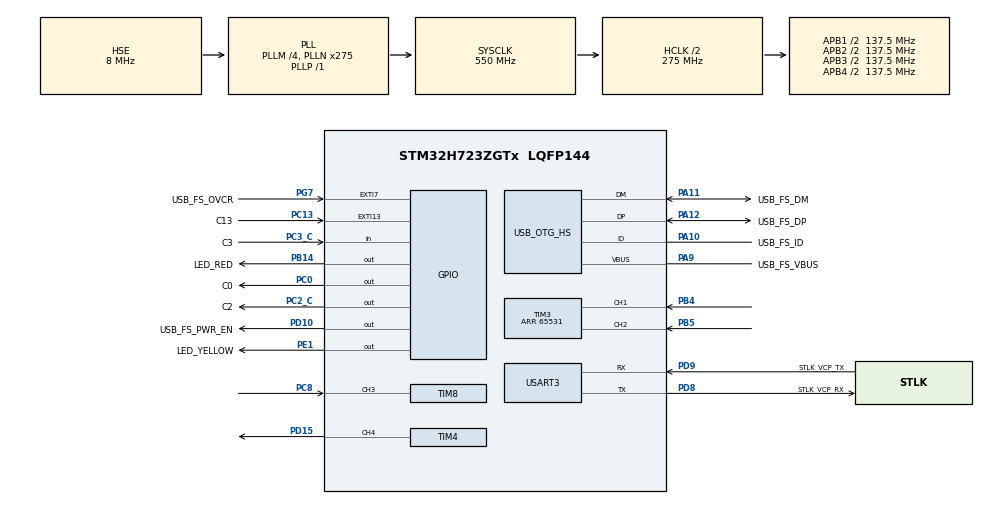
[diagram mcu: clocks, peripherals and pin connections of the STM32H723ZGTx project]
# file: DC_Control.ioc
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Mcu.Family=STM32H7
Mcu.Name=STM32H723ZGTx
Mcu.Package=LQFP144
NVIC.EXTI15_10_IRQn=true\:0\:0\:false\:false\:true\:true\:true
NVIC.PriorityGroup=NVIC_PRIORITYGROUP_4
NVIC.TIM23_IRQn=true\:0\:0\:false\:false\:true\:true\:true
NVIC.TIM24_IRQn=true\:0\:0\:false\:false\:true\:true\:true
NVIC.TIM2_IRQn=true\:0\:0\:false\:false\:true\:true\:true
PA10.GPIO_Label=USB_FS_ID
PA10.Mode=OTG/Dual-Role-Device-FS
PA10.Signal=USB_OTG_HS_ID
PA11.GPIO_Label=USB_FS_DM
PA11.Mode=OTG/Dual-Role-Device-FS
PA11.Signal=USB_OTG_HS_DM
PA12.GPIO_Label=USB_FS_DP
PA12.Mode=OTG/Dual-Role-Device-FS
PA12.Signal=USB_OTG_HS_DP
PA13(JTMS/SWDIO).GPIO_Label=SWDIO
PA13(JTMS/SWDIO).Mode=Trace_Asynchronous_SW
PA13(JTMS/SWDIO).Signal=DEBUG_JTMS-SWDIO
PA14(JTCK/SWCLK).GPIO_Label=SWCLK
PA14(JTCK/SWCLK).Mode=Trace_Asynchronous_SW
PA14(JTCK/SWCLK).Signal=DEBUG_JTCK-SWCLK
PA2.GPIO_Label=RMII_MDIO
PA2.Signal=ETH_MDIO
PA7.GPIO_Label=RMII_CRS_DV
PA7.Signal=ETH_CRS_DV
PA9.GPIO_Label=USB_FS_VBUS
PA9.Mode=Activate_VBUS_FS
PA9.Signal=USB_OTG_HS_VBUS
PB13.GPIO_Label=RMII_TXD1
PB13.Signal=ETH_TXD1
PB14.GPIO_Label=LED_RED
PB14.Signal=GPIO_Output
PB3(JTDO/TRACESWO).GPIO_Label=SWO
PB3(JTDO/TRACESWO).Mode=Trace_Asynchronous_SW
PB3(JTDO/TRACESWO).Signal=DEBUG_JTDO-SWO
PB4(NJTRST).Signal=S_TIM3_CH1
PB5.Signal=S_TIM3_CH2
PC0.GPIO_Label=C0
PC0.Signal=GPIO_Output
PC1.GPIO_Label=RMII_MDC
PC1.Signal=ETH_MDC
PC13.GPIO_Label=C13
PC13.Signal=GPXTI13
PC14-OSC32_IN.Mode=LSE-External-Oscillator
PC14-OSC32_IN.Signal=RCC_OSC32_IN
PC15-OSC32_OUT.Mode=LSE-External-Oscillator
PC15-OSC32_OUT.Signal=RCC_OSC32_OUT
PC2_C.GPIO_Label=C2
PC2_C.Signal=GPIO_Output
PC3_C.GPIO_Label=C3
PC3_C.Signal=GPIO_Input
PC4.GPIO_Label=RMII_RXD0
PC4.Signal=ETH_RXD0
PC5.GPIO_Label=RMII_RXD1
PC5.Signal=ETH_RXD1
PC8.Signal=S_TIM8_CH3
PD10.GPIO_Label=USB_FS_PWR_EN
PD10.Signal=GPIO_Output
PD15.Signal=S_TIM4_CH4
PD8.GPIO_Label=STLK_VCP_RX
PD8.Mode=Asynchronous
PD8.Signal=USART3_TX
PD9.GPIO_Label=STLK_VCP_TX
PD9.Mode=Asynchronous
PD9.Signal=USART3_RX
PE1.GPIO_Label=LED_YELLOW
PE1.Signal=GPIO_Output
PG11.GPIO_Label=RMII_TX_EN
PG11.Signal=ETH_TX_EN
PG13.GPIO_Label=RMII_TXD0
PG13.Signal=ETH_TXD0
PG7.GPIO_Label=USB_FS_OVCR
PG7.Signal=GPXTI7
PH0-OSC_IN.GPIO_Label=MCO
PH0-OSC_IN.Mode=HSE-External-Clock-Source
PH0-OSC_IN.Signal=RCC_OSC_IN
PH1-OSC_OUT.Signal=RCC_OSC_OUT
ProjectManager.HeapSize=0x200
ProjectManager.StackSize=0x400
ProjectManager.TargetToolchain=STM32CubeIDE
RCC.ADCFreq_Value=76000000
RCC.APB1Freq_Value=137500000
RCC.APB2Freq_Value=137500000
RCC.APB3Freq_Value=137500000
RCC.APB4Freq_Value=137500000
RCC.CortexFreq_Value=550000000
RCC.D1PPRE=RCC_APB3_DIV2
RCC.D2PPRE1=RCC_APB1_DIV2
RCC.D2PPRE2=RCC_APB2_DIV2
RCC.D3PPRE=RCC_APB4_DIV2
RCC.DIVM1=4
RCC.DIVM2=1
RCC.DIVN1=275
RCC.DIVN2=19
RCC.DIVP1=1
RCC.DIVQ1=4
RCC.HCLKFreq_Value=275000000
RCC.HPRE=RCC_HCLK_DIV2
RCC.HSE_VALUE=8000000
RCC.PLLFRACN=0
RCC.PLLSourceVirtual=RCC_PLLSOURCE_HSE
RCC.SYSCLKFreq_VALUE=550000000
RCC.SYSCLKSource=RCC_SYSCLKSOURCE_PLLCLK
RCC.USBCLockSelection=RCC_USBCLKSOURCE_HSI48
RCC.USBFreq_Value=48000000
SH.S_TIM3_CH1.0=TIM3_CH1,Encoder_Interface
SH.S_TIM3_CH2.0=TIM3_CH2,Encoder_Interface
SH.S_TIM4_CH4.0=TIM4_CH4,PWM Generation4 CH4
SH.S_TIM8_CH3.0=TIM8_CH3,Input_Capture3_from_TI3
TIM2.Period=9999
TIM2.Prescaler=549
TIM23.Period=9999
TIM23.Prescaler=549
TIM24.Period=14
TIM24.Prescaler=65530
TIM3.EncoderMode=TIM_ENCODERMODE_TI12
TIM3.IC1Filter=10
TIM3.IC2Filter=10
TIM3.Period=65531
TIM4.Channel-PWM\ Generation4\ CH4=TIM_CHANNEL_4
TIM4.Period=65535
TIM4.Prescaler=99
TIM4.Pulse-PWM\ Generation4\ CH4=4999
TIM5.Period=99999
TIM5.Prescaler=5499
TIM8.Channel-Input_Capture3_from_TI3=TIM_CHANNEL_3
TIM8.ICFilter_CH3=10
TIM8.Prescaler=9999
TIM8.RepetitionCounter=10
USART3.VirtualMode-Asynchronous=VM_ASYNC
VP_TIM23_VS_ClockSourceINT.Mode=Internal
VP_TIM24_VS_ClockSourceINT.Mode=Internal
VP_TIM2_VS_ClockSourceINT.Mode=Internal
VP_TIM4_VS_ClockSourceINT.Mode=Internal
VP_TIM5_VS_ClockSourceINT.Mode=Internal
VP_TIM8_VS_ClockSourceINT.Mode=Internal
board=NUCLEO-H723ZG

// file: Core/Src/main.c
/* USER CODE BEGIN Header */
/**
  ******************************************************************************
  * @file           : main.c
  * @brief          : Main program body
  ******************************************************************************
  * @attention
  *
  * <h2><center>&copy; Copyright (c) 2022 STMicroelectronics.
  * All rights reserved.</center></h2>
  *
  * This software component is licensed by ST under BSD 3-Clause license,
  * the "License"; You may not use this file except in compliance with the
  * License. You may obtain a copy of the License at:
  *                        opensource.org/licenses/BSD-3-Clause
  *
  ******************************************************************************
  */
/* USER CODE END Header */
#include "main.h"

/* USER CODE BEGIN Includes */
#include "stdint.h"
#include "stdio.h"
#include <math.h>
#include <stdbool.h>
/* USER CODE END Includes */

TIM_HandleTypeDef htim2;
TIM_HandleTypeDef htim3;
TIM_HandleTypeDef htim4;
TIM_HandleTypeDef htim5;
TIM_HandleTypeDef htim8;
TIM_HandleTypeDef htim23;
TIM_HandleTypeDef htim24;

UART_HandleTypeDef huart3;

void SystemClock_Config(void);
static void MX_GPIO_Init(void);
static void MX_USART3_UART_Init(void);
static void MX_USB_OTG_HS_USB_Init(void);
static void MX_TIM4_Init(void);
static void MX_TIM3_Init(void);
static void MX_TIM8_Init(void);
static void MX_TIM2_Init(void);
static void MX_TIM5_Init(void);
static void MX_TIM23_Init(void);
static void MX_TIM24_Init(void);
/* USER CODE BEGIN PFP */
void HAL_TIM_PeriodElapsedCallback(TIM_HandleTypeDef* htim);
//void HAL_GPIO_EXTI_Callback (uint16_t GPIO_Pin);
/* USER CODE END PFP */

/* USER CODE BEGIN 0 */

int Pulse_d = 0;
int Pulse_Inv =0;
float speed =0;
int diff =1;
int Pulses = 0;
bool ref ;
bool DIR ;
int d = 0;
 int i =0;
 int ARR_Val = 65531;
  int reset_d = 0;
  int reset_inv = 0;

  int flag = 1; // CNT start from 0
  int offset_d = 0;
  int offset_inv = 0;
  int sum_inv= 0 ;
  int sum_d = 0;
/* USER CODE END 0 */

int main(void)
{

  /* MCU Configuration--------------------------------------------------------*/

  /* Reset of all peripherals, Initializes the Flash interface and the Systick. */
  HAL_Init();

  /* Configure the system clock */
  SystemClock_Config();

  /* Initialize all configured peripherals */
  MX_GPIO_Init();
  MX_USART3_UART_Init();
  MX_USB_OTG_HS_USB_Init();
  MX_TIM4_Init();
  MX_TIM3_Init();
  MX_TIM8_Init();
  MX_TIM2_Init();
  MX_TIM5_Init();
  MX_TIM23_Init();
  MX_TIM24_Init();
  /* USER CODE BEGIN 2 */
  HAL_GPIO_WritePin(GPIOC,GPIO_PIN_0,GPIO_PIN_RESET);
  HAL_GPIO_WritePin(GPIOC,GPIO_PIN_2,GPIO_PIN_SET);
  HAL_TIM_PWM_Start(&htim4,TIM_CHANNEL_4);
  HAL_TIM_Encoder_Start(&htim3,TIM_CHANNEL_ALL);
  HAL_TIM_IC_Start (&htim8,TIM_CHANNEL_3);
  //HAL_TIM_Base_Start_IT(&htim2);
  //HAL_TIM_Base_Start_IT(&htim23);
  HAL_TIM_Base_Start_IT(&htim24);

  int CCR_old =0;
  int CCR_new = 0;

while (1)
  {
	while(! (__HAL_TIM_GET_FLAG(&htim8,TIM_FLAG_CC3))) {}
	CCR_new = __HAL_TIM_GET_COMPARE(&htim8,TIM_CHANNEL_3);
	diff = CCR_new - CCR_old;
	CCR_old = CCR_new;
	speed = 154.2746392/ diff;
	//143.320208327- PPR 1205.6
	// 127.0497029 - PPR 1360
	//
 	DIR = (TIM3->CR1) & (1U << 4);
	 if (((ref ^ DIR) != false) & (DIR == false)) //falling edge => sens : inv -> dir
 	 {
	 	 reset_d = __HAL_TIM_GET_COUNTER(&htim3); //Point de reference, nouvelle origine de l'encodeur
	 	 sum_inv = sum_inv + Pulse_Inv; //Somme de l'ensemble des ticks avant changement de sens de rotation
	 	 Pulse_Inv = 0;
 	 }
	 else if (((ref ^ DIR) != false) & (DIR != false)) // Rising edge => Sens Dir -> inv
 	 {
	 	 reset_inv = __HAL_TIM_GET_COUNTER(&htim3);
	 	 sum_d = sum_d + Pulse_d;
	 	 Pulse_d = 0;
 	 }
	 else if (((ref ^ DIR) == false) & (DIR == false)) // Sens :dir post transition
 	 {
	 	 if (reset_d == 0)
	 	 {
	 	 	 if ((__HAL_TIM_GET_COUNTER(&htim3)) == (ARR_Val-offset_d))
	 	 	 {	while ((__HAL_TIM_GET_COUNTER(&htim3)) == (ARR_Val-offset_d)){} // Delay until CNT get's incremented by 1
	 	 		 d++;
	 	 	 }

	 	 	 else
	 	 	{
	 	 		 Pulse_d = __HAL_TIM_GET_COUNTER(&htim3)+ offset_d ; //Valeur de ticks dans l'iteration courante

	 	 	}
	 	 }
	 	 else if ((reset_d != 0) & (flag != 0))
	 	 {
	 		flag = 0; //Debut Iteration !=0
	 	 }
	 	else if ((reset_d != 0) & (flag == 0))
	 	{
	 		if (__HAL_TIM_GET_COUNTER(&htim3) < ARR_Val)
	 		{
	 			Pulse_d= __HAL_TIM_GET_COUNTER(&htim3) - reset_d +1; // Calcul de ticks a partir de nouvelle origine de l'encodeur

	 		}
	 		else
	 		{
	 			offset_d = (ARR_Val +1 - reset_d) ; // Offset Update so it looks like we are incrementing the counter (CNT) from 0
	 			reset_d = 0;
	 			flag = 1 ; // Add the offset val to the pulses and start counting from 0

	 		}
	 	}
 	 }
	 else if (((ref ^ DIR) == false) & (DIR != false)) // Sens :inv
 	 {
	 	 if (reset_inv == 0)
	 	 {
	 	 	 if (__HAL_TIM_GET_COUNTER(&htim3) == offset_inv)
	 	 	 {	while (__HAL_TIM_GET_COUNTER(&htim3) == offset_inv){}
	 	 		 i++;
	 	 	 }
	 	 	 else
			 {
				 Pulse_Inv = __HAL_TIM_GET_COUNTER(&htim3) - offset_inv - (ARR_Val +1) ;
			 }
	 	 }
	 	 else if ((reset_inv != 0) & (flag != 0))
	 	 {
	 		 flag = 0;
	 	 }
	 	else if ((reset_inv != 0) & (flag == 0))
	 	{
	 		if (__HAL_TIM_GET_COUNTER(&htim3) > 0)
	 		{
	 			Pulse_Inv = __HAL_TIM_GET_COUNTER(&htim3) - reset_inv - 1;
	 		}
	 		else
	 		{
	 			offset_inv = reset_inv;
	 			reset_inv = 0;
	 			flag = 1 ;

	 		}
	 	}
 	 }

 Pulses =(d-i)*ARR_Val + Pulse_d  + sum_d + Pulse_Inv +sum_inv;

 }

  /* USER CODE END 2 */

  /* Infinite loop */
  while (1)
  {

  }
}

void SystemClock_Config(void)
{
  RCC_OscInitTypeDef RCC_OscInitStruct = {0};
  RCC_ClkInitTypeDef RCC_ClkInitStruct = {0};

  /** Supply configuration update enable
  */
  HAL_PWREx_ConfigSupply(PWR_LDO_SUPPLY);
  /** Configure the main internal regulator output voltage
  */
  __HAL_PWR_VOLTAGESCALING_CONFIG(PWR_REGULATOR_VOLTAGE_SCALE0);

  while(!__HAL_PWR_GET_FLAG(PWR_FLAG_VOSRDY)) {}
  /** Initializes the RCC Oscillators according to the specified parameters
  * in the RCC_OscInitTypeDef structure.
  */
  RCC_OscInitStruct.OscillatorType = RCC_OSCILLATORTYPE_HSI48|RCC_OSCILLATORTYPE_HSE;
  RCC_OscInitStruct.HSEState = RCC_HSE_BYPASS;
  RCC_OscInitStruct.HSI48State = RCC_HSI48_ON;
  RCC_OscInitStruct.PLL.PLLState = RCC_PLL_ON;
  RCC_OscInitStruct.PLL.PLLSource = RCC_PLLSOURCE_HSE;
  RCC_OscInitStruct.PLL.PLLM = 4;
  RCC_OscInitStruct.PLL.PLLN = 275;
  RCC_OscInitStruct.PLL.PLLP = 1;
  RCC_OscInitStruct.PLL.PLLQ = 4;
  RCC_OscInitStruct.PLL.PLLR = 2;
  RCC_OscInitStruct.PLL.PLLRGE = RCC_PLL1VCIRANGE_1;
  RCC_OscInitStruct.PLL.PLLVCOSEL = RCC_PLL1VCOWIDE;
  RCC_OscInitStruct.PLL.PLLFRACN = 0;
  if (HAL_RCC_OscConfig(&RCC_OscInitStruct) != HAL_OK)
  {
    Error_Handler();
  }
  /** Initializes the CPU, AHB and APB buses clocks
  */
  RCC_ClkInitStruct.ClockType = RCC_CLOCKTYPE_HCLK|RCC_CLOCKTYPE_SYSCLK
                              |RCC_CLOCKTYPE_PCLK1|RCC_CLOCKTYPE_PCLK2
                              |RCC_CLOCKTYPE_D3PCLK1|RCC_CLOCKTYPE_D1PCLK1;
  RCC_ClkInitStruct.SYSCLKSource = RCC_SYSCLKSOURCE_PLLCLK;
  RCC_ClkInitStruct.SYSCLKDivider = RCC_SYSCLK_DIV1;
  RCC_ClkInitStruct.AHBCLKDivider = RCC_HCLK_DIV2;
  RCC_ClkInitStruct.APB3CLKDivider = RCC_APB3_DIV2;
  RCC_ClkInitStruct.APB1CLKDivider = RCC_APB1_DIV2;
  RCC_ClkInitStruct.APB2CLKDivider = RCC_APB2_DIV2;
  RCC_ClkInitStruct.APB4CLKDivider = RCC_APB4_DIV2;

  if (HAL_RCC_ClockConfig(&RCC_ClkInitStruct, FLASH_LATENCY_3) != HAL_OK)
  {
    Error_Handler();
  }
}

static void MX_TIM2_Init(void)
{

  TIM_ClockConfigTypeDef sClockSourceConfig = {0};
  TIM_MasterConfigTypeDef sMasterConfig = {0};

  htim2.Instance = TIM2;
  htim2.Init.Prescaler = 549;
  htim2.Init.CounterMode = TIM_COUNTERMODE_UP;
  htim2.Init.Period = 9999;
  htim2.Init.ClockDivision = TIM_CLOCKDIVISION_DIV1;
  htim2.Init.AutoReloadPreload = TIM_AUTORELOAD_PRELOAD_DISABLE;
  if (HAL_TIM_Base_Init(&htim2) != HAL_OK)
  {
    Error_Handler();
  }
  sClockSourceConfig.ClockSource = TIM_CLOCKSOURCE_INTERNAL;
  if (HAL_TIM_ConfigClockSource(&htim2, &sClockSourceConfig) != HAL_OK)
  {
    Error_Handler();
  }
  sMasterConfig.MasterOutputTrigger = TIM_TRGO_RESET;
  sMasterConfig.MasterSlaveMode = TIM_MASTERSLAVEMODE_DISABLE;
  if (HAL_TIMEx_MasterConfigSynchronization(&htim2, &sMasterConfig) != HAL_OK)
  {
    Error_Handler();
  }

}

static void MX_TIM3_Init(void)
{

  TIM_Encoder_InitTypeDef sConfig = {0};
  TIM_MasterConfigTypeDef sMasterConfig = {0};

  htim3.Instance = TIM3;
  htim3.Init.Prescaler = 0;
  htim3.Init.CounterMode = TIM_COUNTERMODE_UP;
  htim3.Init.Period = 65531;
  htim3.Init.ClockDivision = TIM_CLOCKDIVISION_DIV1;
  htim3.Init.AutoReloadPreload = TIM_AUTORELOAD_PRELOAD_DISABLE;
  sConfig.EncoderMode = TIM_ENCODERMODE_TI12;
  sConfig.IC1Polarity = TIM_ICPOLARITY_RISING;
  sConfig.IC1Selection = TIM_ICSELECTION_DIRECTTI;
  sConfig.IC1Prescaler = TIM_ICPSC_DIV1;
  sConfig.IC1Filter = 10;
  sConfig.IC2Polarity = TIM_ICPOLARITY_RISING;
  sConfig.IC2Selection = TIM_ICSELECTION_DIRECTTI;
  sConfig.IC2Prescaler = TIM_ICPSC_DIV1;
  sConfig.IC2Filter = 10;
  if (HAL_TIM_Encoder_Init(&htim3, &sConfig) != HAL_OK)
  {
    Error_Handler();
  }
  sMasterConfig.MasterOutputTrigger = TIM_TRGO_RESET;
  sMasterConfig.MasterSlaveMode = TIM_MASTERSLAVEMODE_DISABLE;
  if (HAL_TIMEx_MasterConfigSynchronization(&htim3, &sMasterConfig) != HAL_OK)
  {
    Error_Handler();
  }

}

static void MX_TIM4_Init(void)
{

  TIM_ClockConfigTypeDef sClockSourceConfig = {0};
  TIM_MasterConfigTypeDef sMasterConfig = {0};
  TIM_OC_InitTypeDef sConfigOC = {0};

  htim4.Instance = TIM4;
  htim4.Init.Prescaler = 99;
  htim4.Init.CounterMode = TIM_COUNTERMODE_UP;
  htim4.Init.Period = 65535;
  htim4.Init.ClockDivision = TIM_CLOCKDIVISION_DIV1;
  htim4.Init.AutoReloadPreload = TIM_AUTORELOAD_PRELOAD_DISABLE;
  if (HAL_TIM_Base_Init(&htim4) != HAL_OK)
  {
    Error_Handler();
  }
  sClockSourceConfig.ClockSource = TIM_CLOCKSOURCE_INTERNAL;
  if (HAL_TIM_ConfigClockSource(&htim4, &sClockSourceConfig) != HAL_OK)
  {
    Error_Handler();
  }
  if (HAL_TIM_PWM_Init(&htim4) != HAL_OK)
  {
    Error_Handler();
  }
  sMasterConfig.MasterOutputTrigger = TIM_TRGO_RESET;
  sMasterConfig.MasterSlaveMode = TIM_MASTERSLAVEMODE_DISABLE;
  if (HAL_TIMEx_MasterConfigSynchronization(&htim4, &sMasterConfig) != HAL_OK)
  {
    Error_Handler();
  }
  sConfigOC.OCMode = TIM_OCMODE_PWM1;
  sConfigOC.Pulse = 4999;
  sConfigOC.OCPolarity = TIM_OCPOLARITY_HIGH;
  sConfigOC.OCFastMode = TIM_OCFAST_DISABLE;
  if (HAL_TIM_PWM_ConfigChannel(&htim4, &sConfigOC, TIM_CHANNEL_4) != HAL_OK)
  {
    Error_Handler();
  }
  HAL_TIM_MspPostInit(&htim4);

}

static void MX_TIM5_Init(void)
{

  TIM_ClockConfigTypeDef sClockSourceConfig = {0};
  TIM_MasterConfigTypeDef sMasterConfig = {0};

  htim5.Instance = TIM5;
  htim5.Init.Prescaler = 5499;
  htim5.Init.CounterMode = TIM_COUNTERMODE_UP;
  htim5.Init.Period = 99999;
  htim5.Init.ClockDivision = TIM_CLOCKDIVISION_DIV1;
  htim5.Init.AutoReloadPreload = TIM_AUTORELOAD_PRELOAD_DISABLE;
  if (HAL_TIM_Base_Init(&htim5) != HAL_OK)
  {
    Error_Handler();
  }
  sClockSourceConfig.ClockSource = TIM_CLOCKSOURCE_INTERNAL;
  if (HAL_TIM_ConfigClockSource(&htim5, &sClockSourceConfig) != HAL_OK)
  {
    Error_Handler();
  }
  sMasterConfig.MasterOutputTrigger = TIM_TRGO_RESET;
  sMasterConfig.MasterSlaveMode = TIM_MASTERSLAVEMODE_DISABLE;
  if (HAL_TIMEx_MasterConfigSynchronization(&htim5, &sMasterConfig) != HAL_OK)
  {
    Error_Handler();
  }

}

static void MX_TIM8_Init(void)
{

  TIM_ClockConfigTypeDef sClockSourceConfig = {0};
  TIM_MasterConfigTypeDef sMasterConfig = {0};
  TIM_IC_InitTypeDef sConfigIC = {0};

  htim8.Instance = TIM8;
  htim8.Init.Prescaler = 9999;
  htim8.Init.CounterMode = TIM_COUNTERMODE_UP;
  htim8.Init.Period = 65535;
  htim8.Init.ClockDivision = TIM_CLOCKDIVISION_DIV1;
  htim8.Init.RepetitionCounter = 10;
  htim8.Init.AutoReloadPreload = TIM_AUTORELOAD_PRELOAD_DISABLE;
  if (HAL_TIM_Base_Init(&htim8) != HAL_OK)
  {
    Error_Handler();
  }
  sClockSourceConfig.ClockSource = TIM_CLOCKSOURCE_INTERNAL;
  if (HAL_TIM_ConfigClockSource(&htim8, &sClockSourceConfig) != HAL_OK)
  {
    Error_Handler();
  }
  if (HAL_TIM_IC_Init(&htim8) != HAL_OK)
  {
    Error_Handler();
  }
  sMasterConfig.MasterOutputTrigger = TIM_TRGO_RESET;
  sMasterConfig.MasterOutputTrigger2 = TIM_TRGO2_RESET;
  sMasterConfig.MasterSlaveMode = TIM_MASTERSLAVEMODE_DISABLE;
  if (HAL_TIMEx_MasterConfigSynchronization(&htim8, &sMasterConfig) != HAL_OK)
  {
    Error_Handler();
  }
  sConfigIC.ICPolarity = TIM_INPUTCHANNELPOLARITY_RISING;
  sConfigIC.ICSelection = TIM_ICSELECTION_DIRECTTI;
  sConfigIC.ICPrescaler = TIM_ICPSC_DIV1;
  sConfigIC.ICFilter = 10;
  if (HAL_TIM_IC_ConfigChannel(&htim8, &sConfigIC, TIM_CHANNEL_3) != HAL_OK)
  {
    Error_Handler();
  }

}

static void MX_TIM23_Init(void)
{

  TIM_ClockConfigTypeDef sClockSourceConfig = {0};
  TIM_MasterConfigTypeDef sMasterConfig = {0};

  htim23.Instance = TIM23;
  htim23.Init.Prescaler = 549;
  htim23.Init.CounterMode = TIM_COUNTERMODE_UP;
  htim23.Init.Period = 9999;
  htim23.Init.ClockDivision = TIM_CLOCKDIVISION_DIV1;
  htim23.Init.AutoReloadPreload = TIM_AUTORELOAD_PRELOAD_DISABLE;
  if (HAL_TIM_Base_Init(&htim23) != HAL_OK)
  {
    Error_Handler();
  }
  sClockSourceConfig.ClockSource = TIM_CLOCKSOURCE_INTERNAL;
  if (HAL_TIM_ConfigClockSource(&htim23, &sClockSourceConfig) != HAL_OK)
  {
    Error_Handler();
  }
  sMasterConfig.MasterOutputTrigger = TIM_TRGO_RESET;
  sMasterConfig.MasterSlaveMode = TIM_MASTERSLAVEMODE_DISABLE;
  if (HAL_TIMEx_MasterConfigSynchronization(&htim23, &sMasterConfig) != HAL_OK)
  {
    Error_Handler();
  }

}

static void MX_TIM24_Init(void)
{

  TIM_ClockConfigTypeDef sClockSourceConfig = {0};
  TIM_MasterConfigTypeDef sMasterConfig = {0};

  htim24.Instance = TIM24;
  htim24.Init.Prescaler = 65530;
  htim24.Init.CounterMode = TIM_COUNTERMODE_UP;
  htim24.Init.Period = 14;
  htim24.Init.ClockDivision = TIM_CLOCKDIVISION_DIV1;
  htim24.Init.AutoReloadPreload = TIM_AUTORELOAD_PRELOAD_DISABLE;
  if (HAL_TIM_Base_Init(&htim24) != HAL_OK)
  {
    Error_Handler();
  }
  sClockSourceConfig.ClockSource = TIM_CLOCKSOURCE_INTERNAL;
  if (HAL_TIM_ConfigClockSource(&htim24, &sClockSourceConfig) != HAL_OK)
  {
    Error_Handler();
  }
  sMasterConfig.MasterOutputTrigger = TIM_TRGO_RESET;
  sMasterConfig.MasterSlaveMode = TIM_MASTERSLAVEMODE_DISABLE;
  if (HAL_TIMEx_MasterConfigSynchronization(&htim24, &sMasterConfig) != HAL_OK)
  {
    Error_Handler();
  }

}

static void MX_USART3_UART_Init(void)
{

  huart3.Instance = USART3;
  huart3.Init.BaudRate = 115200;
  huart3.Init.WordLength = UART_WORDLENGTH_8B;
  huart3.Init.StopBits = UART_STOPBITS_1;
  huart3.Init.Parity = UART_PARITY_NONE;
  huart3.Init.Mode = UART_MODE_TX_RX;
  huart3.Init.HwFlowCtl = UART_HWCONTROL_NONE;
  huart3.Init.OverSampling = UART_OVERSAMPLING_16;
  huart3.Init.OneBitSampling = UART_ONE_BIT_SAMPLE_DISABLE;
  huart3.Init.ClockPrescaler = UART_PRESCALER_DIV1;
  huart3.AdvancedInit.AdvFeatureInit = UART_ADVFEATURE_NO_INIT;
  if (HAL_UART_Init(&huart3) != HAL_OK)
  {
    Error_Handler();
  }
  if (HAL_UARTEx_SetTxFifoThreshold(&huart3, UART_TXFIFO_THRESHOLD_1_8) != HAL_OK)
  {
    Error_Handler();
  }
  if (HAL_UARTEx_SetRxFifoThreshold(&huart3, UART_RXFIFO_THRESHOLD_1_8) != HAL_OK)
  {
    Error_Handler();
  }
  if (HAL_UARTEx_DisableFifoMode(&huart3) != HAL_OK)
  {
    Error_Handler();
  }

}

static void MX_USB_OTG_HS_USB_Init(void)
{

}

static void MX_GPIO_Init(void)
{
  GPIO_InitTypeDef GPIO_InitStruct = {0};

  /* GPIO Ports Clock Enable */
  __HAL_RCC_GPIOC_CLK_ENABLE();
  __HAL_RCC_GPIOH_CLK_ENABLE();
  __HAL_RCC_GPIOA_CLK_ENABLE();
  __HAL_RCC_GPIOB_CLK_ENABLE();
  __HAL_RCC_GPIOD_CLK_ENABLE();
  __HAL_RCC_GPIOG_CLK_ENABLE();
  __HAL_RCC_GPIOE_CLK_ENABLE();

  /*Configure GPIO pin Output Level */
  HAL_GPIO_WritePin(GPIOC, C0_Pin|C2_Pin, GPIO_PIN_RESET);

  /*Configure GPIO pin Output Level */
  HAL_GPIO_WritePin(LED_RED_GPIO_Port, LED_RED_Pin, GPIO_PIN_RESET);

  /*Configure GPIO pin Output Level */
  HAL_GPIO_WritePin(USB_FS_PWR_EN_GPIO_Port, USB_FS_PWR_EN_Pin, GPIO_PIN_RESET);

  /*Configure GPIO pin Output Level */
  HAL_GPIO_WritePin(LED_YELLOW_GPIO_Port, LED_YELLOW_Pin, GPIO_PIN_RESET);

  /*Configure GPIO pin : C13_Pin */
  GPIO_InitStruct.Pin = C13_Pin;
  GPIO_InitStruct.Mode = GPIO_MODE_IT_RISING;
  GPIO_InitStruct.Pull = GPIO_NOPULL;
  HAL_GPIO_Init(C13_GPIO_Port, &GPIO_InitStruct);

  /*Configure GPIO pins : C0_Pin C2_Pin */
  GPIO_InitStruct.Pin = C0_Pin|C2_Pin;
  GPIO_InitStruct.Mode = GPIO_MODE_OUTPUT_PP;
  GPIO_InitStruct.Pull = GPIO_NOPULL;
  GPIO_InitStruct.Speed = GPIO_SPEED_FREQ_LOW;
  HAL_GPIO_Init(GPIOC, &GPIO_InitStruct);

  /*Configure GPIO pins : RMII_MDC_Pin RMII_RXD0_Pin RMII_RXD1_Pin */
  GPIO_InitStruct.Pin = RMII_MDC_Pin|RMII_RXD0_Pin|RMII_RXD1_Pin;
  GPIO_InitStruct.Mode = GPIO_MODE_AF_PP;
  GPIO_InitStruct.Pull = GPIO_NOPULL;
  GPIO_InitStruct.Speed = GPIO_SPEED_FREQ_LOW;
  GPIO_InitStruct.Alternate = GPIO_AF11_ETH;
  HAL_GPIO_Init(GPIOC, &GPIO_InitStruct);

  /*Configure GPIO pin : C3_Pin */
  GPIO_InitStruct.Pin = C3_Pin;
  GPIO_InitStruct.Mode = GPIO_MODE_INPUT;
  GPIO_InitStruct.Pull = GPIO_NOPULL;
  HAL_GPIO_Init(C3_GPIO_Port, &GPIO_InitStruct);

  /*Configure GPIO pins : RMII_MDIO_Pin RMII_CRS_DV_Pin */
  GPIO_InitStruct.Pin = RMII_MDIO_Pin|RMII_CRS_DV_Pin;
  GPIO_InitStruct.Mode = GPIO_MODE_AF_PP;
  GPIO_InitStruct.Pull = GPIO_NOPULL;
  GPIO_InitStruct.Speed = GPIO_SPEED_FREQ_LOW;
  GPIO_InitStruct.Alternate = GPIO_AF11_ETH;
  HAL_GPIO_Init(GPIOA, &GPIO_InitStruct);

  /*Configure GPIO pin : RMII_TXD1_Pin */
  GPIO_InitStruct.Pin = RMII_TXD1_Pin;
  GPIO_InitStruct.Mode = GPIO_MODE_AF_PP;
  GPIO_InitStruct.Pull = GPIO_NOPULL;
  GPIO_InitStruct.Speed = GPIO_SPEED_FREQ_LOW;
  GPIO_InitStruct.Alternate = GPIO_AF11_ETH;
  HAL_GPIO_Init(RMII_TXD1_GPIO_Port, &GPIO_InitStruct);

  /*Configure GPIO pin : LED_RED_Pin */
  GPIO_InitStruct.Pin = LED_RED_Pin;
  GPIO_InitStruct.Mode = GPIO_MODE_OUTPUT_PP;
  GPIO_InitStruct.Pull = GPIO_NOPULL;
  GPIO_InitStruct.Speed = GPIO_SPEED_FREQ_LOW;
  HAL_GPIO_Init(LED_RED_GPIO_Port, &GPIO_InitStruct);

  /*Configure GPIO pin : USB_FS_PWR_EN_Pin */
  GPIO_InitStruct.Pin = USB_FS_PWR_EN_Pin;
  GPIO_InitStruct.Mode = GPIO_MODE_OUTPUT_PP;
  GPIO_InitStruct.Pull = GPIO_NOPULL;
  GPIO_InitStruct.Speed = GPIO_SPEED_FREQ_LOW;
  HAL_GPIO_Init(USB_FS_PWR_EN_GPIO_Port, &GPIO_InitStruct);

  /*Configure GPIO pin : USB_FS_OVCR_Pin */
  GPIO_InitStruct.Pin = USB_FS_OVCR_Pin;
  GPIO_InitStruct.Mode = GPIO_MODE_IT_RISING;
  GPIO_InitStruct.Pull = GPIO_NOPULL;
  HAL_GPIO_Init(USB_FS_OVCR_GPIO_Port, &GPIO_InitStruct);

  /*Configure GPIO pin : USB_FS_VBUS_Pin */
  GPIO_InitStruct.Pin = USB_FS_VBUS_Pin;
  GPIO_InitStruct.Mode = GPIO_MODE_INPUT;
  GPIO_InitStruct.Pull = GPIO_NOPULL;
  HAL_GPIO_Init(USB_FS_VBUS_GPIO_Port, &GPIO_InitStruct);

  /*Configure GPIO pin : USB_FS_ID_Pin */
  GPIO_InitStruct.Pin = USB_FS_ID_Pin;
  GPIO_InitStruct.Mode = GPIO_MODE_AF_PP;
  GPIO_InitStruct.Pull = GPIO_NOPULL;
  GPIO_InitStruct.Speed = GPIO_SPEED_FREQ_LOW;
  GPIO_InitStruct.Alternate = GPIO_AF10_OTG1_HS;
  HAL_GPIO_Init(USB_FS_ID_GPIO_Port, &GPIO_InitStruct);

  /*Configure GPIO pins : RMII_TX_EN_Pin RMII_TXD0_Pin */
  GPIO_InitStruct.Pin = RMII_TX_EN_Pin|RMII_TXD0_Pin;
  GPIO_InitStruct.Mode = GPIO_MODE_AF_PP;
  GPIO_InitStruct.Pull = GPIO_NOPULL;
  GPIO_InitStruct.Speed = GPIO_SPEED_FREQ_LOW;
  GPIO_InitStruct.Alternate = GPIO_AF11_ETH;
  HAL_GPIO_Init(GPIOG, &GPIO_InitStruct);

  /*Configure GPIO pin : LED_YELLOW_Pin */
  GPIO_InitStruct.Pin = LED_YELLOW_Pin;
  GPIO_InitStruct.Mode = GPIO_MODE_OUTPUT_PP;
  GPIO_InitStruct.Pull = GPIO_NOPULL;
  GPIO_InitStruct.Speed = GPIO_SPEED_FREQ_LOW;
  HAL_GPIO_Init(LED_YELLOW_GPIO_Port, &GPIO_InitStruct);

  /* EXTI interrupt init*/
  HAL_NVIC_SetPriority(EXTI15_10_IRQn, 0, 0);
  HAL_NVIC_EnableIRQ(EXTI15_10_IRQn);

}

/* USER CODE BEGIN 4 */

float speed_d;
float past_speed = 0;
float err;
float sum_err = 0;
float diff_err = 0;
float err_past = 0;
float DutyC = 0;
float Kp = 6;
float Ki = 2.89;
float Kd = 8.65;
int ccr_reg;
float v_flt;
float v_flt_past = 0;
float taux = 5;

int pulses_d = 1120*4; // 90°
float Kp1= 0;
float Ki1 = 0;
float Kd1 = 1.581;
int err_pos;
int sum_err_pos;
int err_past_pos = 0;
int diff_err_pos;

void HAL_TIM_PeriodElapsedCallback(TIM_HandleTypeDef* htim)
{ if ( htim == &htim2)
  {
	v_flt = (1/((1/taux) +100))*((1/taux)*(speed + past_speed) - ((1/taux) - 100)*v_flt_past);
	v_flt_past = v_flt;
	past_speed = speed;

	err = speed_d - speed;
	sum_err += err;
	diff_err = err - err_past;
	err_past = err;
	DutyC = Kp*err + Ki*sum_err + Kd*diff_err;

	if (DutyC > 100)
						{ DutyC = 100 ; }
	else if ( DutyC < 0)
						{ DutyC = 0 ;}

	ccr_reg = (int) ( DutyC * (13107/20) ) ;
	__HAL_TIM_SET_COMPARE(&htim4,TIM_CHANNEL_4, ccr_reg);
  }

// Asservisssement de position
else if ( htim == &htim23)
 {
	err_pos = pulses_d - Pulses;
	sum_err_pos += err_pos;
	diff_err_pos = err_pos - err_past_pos;
	err_past_pos = err_pos;
	speed_d = Kp1*err_pos + Ki1*sum_err_pos + Kd1*diff_err_pos;
	if (speed_d >= 0)
		{
			HAL_GPIO_WritePin(GPIOC,GPIO_PIN_0,GPIO_PIN_RESET);
			HAL_GPIO_WritePin(GPIOC,GPIO_PIN_2,GPIO_PIN_SET);
			if (speed_d > 16)
			{
				speed_d = 16;
			}
		}

		else if ( speed_d < 0)
		{	HAL_GPIO_WritePin(GPIOC,GPIO_PIN_0,GPIO_PIN_SET);
		  	HAL_GPIO_WritePin(GPIOC,GPIO_PIN_2,GPIO_PIN_RESET);

			if (speed_d > -16)
			{
				speed_d = - speed_d;
			}
			else
			{
				speed_d = 16;
			}
		}
	err = speed_d - speed;
	sum_err += err;
	diff_err = err - err_past;
	err_past = err;
	DutyC = Kp*err + Ki*sum_err + Kd*diff_err;

	if (DutyC > 100)
						{ DutyC = 100 ; }
	else if ( DutyC < 0)
						{ DutyC = 0 ;}

	ccr_reg = (int) ( DutyC *  655.34) ;
	__HAL_TIM_SET_COMPARE(&htim4,TIM_CHANNEL_4, ccr_reg);
	// Filtre Passe bas
	v_flt = (1/((1/taux) +100))*((1/taux)*(speed + past_speed) - ((1/taux) - 100)*v_flt_past);
	v_flt_past = v_flt;
	past_speed = speed;
 }

// Rising & Falling edge detection
else if (htim == &htim24)
{
	ref = (TIM3->CR1) & (1U << 4);
}

}

/*void HAL_GPIO_EXTI_Callback (uint16_t GPIO_Pin)
{
	HAL_GPIO_TogglePin (GPIOC,GPIO_PIN_0);
	HAL_GPIO_TogglePin (GPIOC,GPIO_PIN_2);
}*/

/* USER CODE END 4 */

void Error_Handler(void)
{
  __disable_irq();
  while (1)
  {
  }
}

/************************ (C) COPYRIGHT STMicroelectronics *****END OF FILE****/
